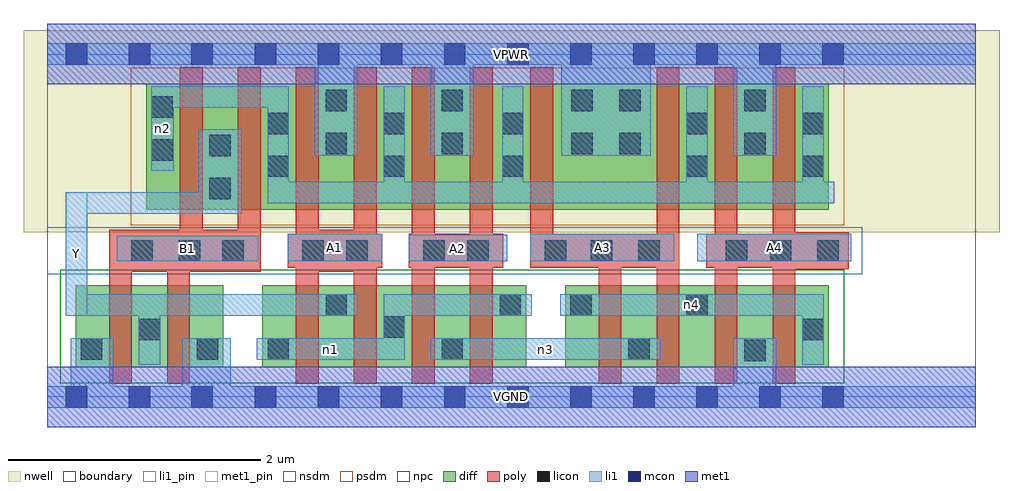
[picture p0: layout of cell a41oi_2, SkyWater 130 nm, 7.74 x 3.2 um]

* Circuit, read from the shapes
.subckt a41oi_2 A1 A2 A3 A4 B1 VGND VPWR Y n1 n2 n3 n4
XM1 Y B1 VGND VSUBS sky130_fd_pr__nfet_01v8 w=0.65 l=0.18 m=2
XM2 Y A1 n1 VSUBS sky130_fd_pr__nfet_01v8 w=0.65 l=0.18 m=2
XM3 n3 A2 n1 VSUBS sky130_fd_pr__nfet_01v8 w=0.65 l=0.18 m=2
XM4 n3 A3 n4 VSUBS sky130_fd_pr__nfet_01v8 w=0.65 l=0.18 m=2
XM5 VGND A4 n4 VSUBS sky130_fd_pr__nfet_01v8 w=0.65 l=0.18 m=2
XM6 Y B1 n2 n5 sky130_fd_pr__pfet_01v8 w=1 l=0.18 m=2
XM7 VPWR A1 n2 n5 sky130_fd_pr__pfet_01v8 w=1 l=0.18 m=2
XM8 VPWR A2 n2 n5 sky130_fd_pr__pfet_01v8 w=1 l=0.18 m=2
XM9 VPWR A3 n2 n5 sky130_fd_pr__pfet_01v8 w=1 l=0.18 m=2
XM10 VPWR A4 n2 n5 sky130_fd_pr__pfet_01v8 w=1 l=0.18 m=2
.ends

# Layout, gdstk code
import gdstk
lib = gdstk.Library(unit=1e-6, precision=1e-09)
def R(c, l, rs):  # rectangles x0, y0, x1, y1
    for r in rs: c.add(gdstk.rectangle(r[:2], r[2:], *l))
def A(c, l, x, y, w, h, nx, ny, dx, dy):  # array of equal rectangles
    R(c, l, [(x+i*dx, y+j*dy, x+i*dx+w, y+j*dy+h) for i in range(nx) for j in range(ny)])
nwell = (64, 20)
diff = (65, 20)
poly = (66, 20)
licon = (66, 44)
li1_pin = (67, 16)
li1 = (67, 20)
mcon = (67, 44)
met1_pin = (68, 16)
met1 = (68, 20)
nsdm = (93, 44)
psdm = (94, 20)
npc = (95, 20)
boundary = (235, 4)

a41oi_2 = lib.new_cell('a41oi_2')
R(a41oi_2, nwell, [(-0.19,1.305,7.55,2.91), (0,1.305,7.36,2.91)])
R(a41oi_2, diff, [(0.225,0.235,1.395,0.885), (1.705,0.235,3.795,0.885), (4.105,0.235,6.195,0.885), (0.785,1.485,6.195,2.485)])
A(a41oi_2, poly, 1.97, 0.105, 0.18, 2.51, 4, 1, 0.46, 0)
A(a41oi_2, poly, 4.83, 0.105, 0.18, 2.51, 3, 1, 0.46, 0)
R(a41oi_2, poly, [(0.49,0.105,0.67,1.325), (0.95,0.105,1.13,1.325), (4.37,0.105,4.55,1.295), (0.49,0.995,1.69,1.325), (1.05,0.995,1.23,2.615), (1.51,0.995,1.69,2.615), (1.97,0.995,2.61,1.325), (5.75,1.015,6.355,1.305), (1.905,1.025,2.655,1.295), (2.865,1.025,3.615,1.295), (3.83,1.025,5.01,1.295), (3.83,1.025,4.01,2.615), (5.225,1.025,6.355,1.295)])
R(a41oi_2, licon, [(5.525,0.285,5.695,0.455), (0.265,0.295,0.435,0.465), (1.185,0.295,1.355,0.465), (1.745,0.295,1.915,0.465), (3.125,0.295,3.295,0.465), (4.605,0.295,4.775,0.465), (0.725,0.45,0.895,0.62), (5.985,0.45,6.155,0.62), (2.665,0.47,2.835,0.64), (2.205,0.645,2.375,0.815), (3.585,0.645,3.755,0.815), (4.145,0.645,4.315,0.815), (5.065,0.645,5.235,0.815), (0.665,1.075,0.835,1.245), (1.04,1.075,1.21,1.245), (1.385,1.075,1.555,1.245), (2.02,1.075,2.19,1.245), (2.37,1.075,2.54,1.245), (2.98,1.075,3.15,1.245), (3.33,1.075,3.5,1.245), (3.945,1.075,4.115,1.245), (4.31,1.075,4.48,1.245), (4.685,1.075,4.855,1.245), (5.38,1.075,5.55,1.245), (5.73,1.075,5.9,1.245), (6.105,1.075,6.275,1.245), (1.285,1.57,1.455,1.74), (1.745,1.745,1.915,1.915), (2.665,1.745,2.835,1.915), (3.605,1.745,3.775,1.915), (5.065,1.745,5.235,1.915), (5.985,1.745,6.155,1.915), (0.825,1.875,0.995,2.045), (1.285,1.91,1.455,2.08), (2.205,1.925,2.375,2.095), (3.125,1.925,3.295,2.095), (4.155,1.925,4.325,2.095), (4.535,1.925,4.705,2.095), (5.525,1.925,5.695,2.095), (1.745,2.085,1.915,2.255), (2.665,2.085,2.835,2.255), (3.605,2.085,3.775,2.255), (5.065,2.085,5.235,2.255), (5.985,2.085,6.155,2.255), (0.825,2.215,0.995,2.385), (2.205,2.265,2.375,2.435), (3.125,2.265,3.295,2.435), (4.155,2.265,4.325,2.435), (4.535,2.265,4.705,2.435), (5.525,2.265,5.695,2.435)])
R(a41oi_2, li1_pin, [(0.145,0.645,0.315,1.625), (0.55,1.075,1.67,1.28), (1.905,1.075,2.655,1.295), (2.865,1.075,3.645,1.285), (3.83,1.075,4.97,1.295), (5.155,1.075,6.375,1.295)])
R(a41oi_2, li1, [(0,-0.085,7.36,0.085), (0.185,-0.085,0.52,0.465), (1.07,-0.085,1.455,0.465), (5.44,-0.085,5.78,0.465), (0.725,0.255,0.895,0.815), (5.985,0.255,6.155,0.815), (1.66,0.295,2.835,0.465), (2.665,0.295,2.835,0.815), (3.04,0.295,4.86,0.465), (0.145,0.645,2.46,0.815), (0.145,0.645,0.315,1.625), (2.665,0.645,3.84,0.815), (4.065,0.645,6.155,0.815), (0.55,1.075,1.67,1.28), (1.905,1.075,2.655,1.295), (2.865,1.075,3.645,1.285), (3.83,1.075,4.97,1.295), (5.155,1.075,6.375,1.295), (0.145,1.455,1.54,1.625), (1.2,1.455,1.54,2.125), (1.745,1.535,6.24,1.705), (1.745,1.535,1.915,2.465), (2.665,1.535,2.835,2.465), (3.605,1.535,3.775,2.465), (5.065,1.535,5.235,2.465), (5.985,1.535,6.155,2.465), (0.825,1.795,1,2.465), (2.12,1.915,2.46,2.805), (3.04,1.915,3.38,2.805), (4.075,1.915,4.785,2.805), (5.44,1.915,5.78,2.805), (0.825,2.295,1.915,2.465), (0,2.635,7.36,2.805)])
A(a41oi_2, mcon, 1.645, -0.085, 0.17, 0.17, 10, 2, 0.5, 2.72)
R(a41oi_2, mcon, [(0.145,-0.085,0.315,0.085), (0.645,-0.085,0.815,0.085), (1.14,-0.085,1.31,0.085), (0.145,2.635,0.315,2.805), (0.645,2.635,0.815,2.805), (1.14,2.635,1.31,2.805)])
R(a41oi_2, met1_pin, [(0,-0.24,7.36,0.24), (0,2.48,7.36,2.96)])
R(a41oi_2, met1, [(0,-0.24,7.36,0.24), (0,2.48,7.36,2.96)])
R(a41oi_2, nsdm, [(0.1,0.11,6.32,1.01)])
R(a41oi_2, psdm, [(0.66,1.36,6.32,2.61)])
R(a41oi_2, npc, [(0,0.975,6.46,1.345)])
R(a41oi_2, boundary, [(0,0,7.36,2.72)])
a41oi_2.add(gdstk.Label('A1', (2.28,1.185), layer=67, texttype=5))
a41oi_2.add(gdstk.Label('A2', (3.255,1.18), layer=67, texttype=5))
a41oi_2.add(gdstk.Label('A3', (4.4,1.185), layer=67, texttype=5))
a41oi_2.add(gdstk.Label('A4', (5.765,1.185), layer=67, texttype=5))
a41oi_2.add(gdstk.Label('B1', (1.11,1.177), layer=67, texttype=5))
a41oi_2.add(gdstk.Label('Y', (0.23,1.135), layer=67, texttype=5))
a41oi_2.add(gdstk.Label('n3', (3.95,0.38), layer=67, texttype=5))
a41oi_2.add(gdstk.Label('n1', (2.247,0.38), layer=67, texttype=5))
a41oi_2.add(gdstk.Label('n4', (5.11,0.73), layer=67, texttype=5))
a41oi_2.add(gdstk.Label('n2', (0.912,2.13), layer=67, texttype=5))
a41oi_2.add(gdstk.Label('VPWR', (3.68,2.72), layer=68, texttype=5))
a41oi_2.add(gdstk.Label('VGND', (3.68,0), layer=68, texttype=5))
a41oi_2.add(gdstk.Label('A1', (2.28,1.185), layer=67, texttype=16))
a41oi_2.add(gdstk.Label('A2', (3.255,1.18), layer=67, texttype=16))
a41oi_2.add(gdstk.Label('A3', (4.4,1.185), layer=67, texttype=16))
a41oi_2.add(gdstk.Label('A4', (5.765,1.185), layer=67, texttype=16))
a41oi_2.add(gdstk.Label('B1', (1.11,1.177), layer=67, texttype=16))
a41oi_2.add(gdstk.Label('Y', (0.23,1.135), layer=67, texttype=16))
a41oi_2.add(gdstk.Label('VPWR', (3.68,2.72), layer=68, texttype=16))
a41oi_2.add(gdstk.Label('VGND', (3.68,0), layer=68, texttype=16))

lib.write_gds('a41oi_2.gds')
